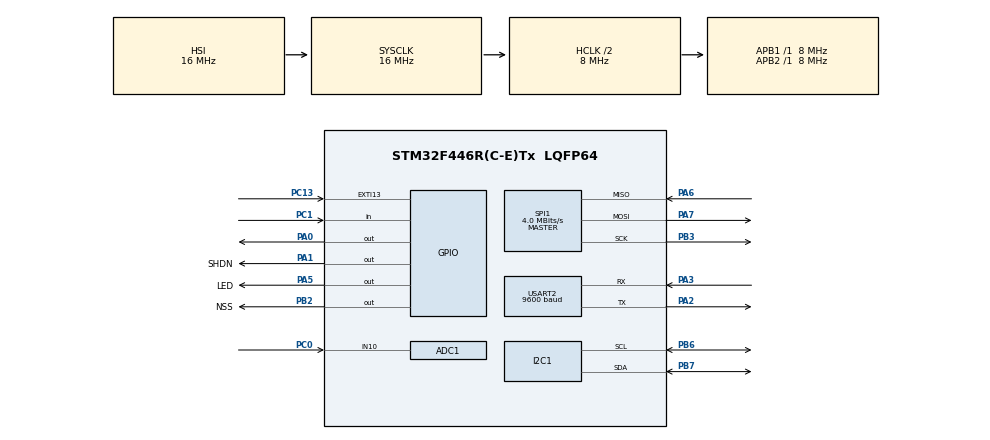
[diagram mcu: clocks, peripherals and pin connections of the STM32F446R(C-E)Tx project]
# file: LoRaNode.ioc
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ADC1.Channel-0\#ChannelRegularConversion=ADC_CHANNEL_10
ADC1.ClockPrescaler=ADC_CLOCK_SYNC_PCLK_DIV2
ADC1.ContinuousConvMode=DISABLE
ADC1.DMAContinuousRequests=DISABLE
ADC1.DataAlign=ADC_DATAALIGN_RIGHT
ADC1.DiscontinuousConvMode=DISABLE
ADC1.EOCSelection=ADC_EOC_SINGLE_CONV
ADC1.EnableAnalogWatchDog=false
ADC1.ExternalTrigConv=ADC_SOFTWARE_START
ADC1.ExternalTrigConvEdge=ADC_EXTERNALTRIGCONVEDGE_NONE
ADC1.InjNumberOfConversion=0
ADC1.NbrOfConversion=1
ADC1.NbrOfConversionFlag=1
ADC1.Rank-0\#ChannelRegularConversion=1
ADC1.Resolution=ADC_RESOLUTION_8B
ADC1.SamplingTime-0\#ChannelRegularConversion=ADC_SAMPLETIME_3CYCLES
ADC1.ScanConvMode=DISABLE
ADC1.master=1
Mcu.Family=STM32F4
Mcu.Name=STM32F446R(C-E)Tx
Mcu.Package=LQFP64
NVIC.EXTI15_10_IRQn=true\:0\:0\:false\:false\:true\:true\:true
NVIC.PriorityGroup=NVIC_PRIORITYGROUP_4
NVIC.RTC_Alarm_IRQn=true\:0\:0\:false\:false\:true\:true\:true
NVIC.TIM2_IRQn=true\:0\:0\:false\:false\:true\:true\:true
PA0-WKUP.Signal=GPIO_Output
PA1.GPIO_Label=SHDN
PA1.Signal=GPIO_Output
PA2.Mode=Asynchronous
PA2.Signal=USART2_TX
PA3.Mode=Asynchronous
PA3.Signal=USART2_RX
PA5.GPIO_Label=LED
PA5.Signal=GPIO_Output
PA6.Mode=Full_Duplex_Master
PA6.Signal=SPI1_MISO
PA7.Mode=Full_Duplex_Master
PA7.Signal=SPI1_MOSI
PB2.GPIO_Label=NSS
PB2.GPIO_Speed=GPIO_SPEED_FREQ_HIGH
PB2.PinState=GPIO_PIN_SET
PB2.Signal=GPIO_Output
PB3.Mode=Full_Duplex_Master
PB3.Signal=SPI1_SCK
PB6.GPIO_PuPdOD=GPIO_PULLUP
PB6.Mode=I2C
PB6.Signal=I2C1_SCL
PB7.GPIO_PuPdOD=GPIO_PULLUP
PB7.Mode=I2C
PB7.Signal=I2C1_SDA
PC0.Signal=ADCx_IN10
PC1.Signal=GPIO_Input
PC13.Signal=GPXTI13
PC14-OSC32_IN.Mode=LSE-External-Oscillator
PC14-OSC32_IN.Signal=RCC_OSC32_IN
PC15-OSC32_OUT.Mode=LSE-External-Oscillator
PC15-OSC32_OUT.Signal=RCC_OSC32_OUT
ProjectManager.HeapSize=0x200
ProjectManager.StackSize=0x400
ProjectManager.TargetToolchain=SW4STM32
RCC.AHBCLKDivider=RCC_SYSCLK_DIV2
RCC.AHBFreq_Value=8000000
RCC.APB1Freq_Value=8000000
RCC.APB1TimFreq_Value=8000000
RCC.APB2Freq_Value=8000000
RCC.APB2TimFreq_Value=8000000
RCC.CortexFreq_Value=8000000
RCC.HCLKFreq_Value=8000000
RCC.SYSCLKFreq_VALUE=16000000
RCC.USBFreq_Value=96000000
RCC.VCOOutputFreq_Value=192000000
RTC.Alarm=RTC_ALARM_A
RTC.AlarmMaskDateWeekDay=RTC_ALARMMASK_DATEWEEKDAY
RTC.AlarmSubSecondMask=RTC_ALARMSUBSECONDMASK_NONE
RTC.Seconds_A=2
RTC.SynchPrediv=304
SH.ADCx_IN10.0=ADC1_IN10,IN10
SPI1.BaudRatePrescaler=SPI_BAUDRATEPRESCALER_2
SPI1.CalculateBaudRate=4.0 MBits/s
SPI1.Direction=SPI_DIRECTION_2LINES
SPI1.Mode=SPI_MODE_MASTER
SPI1.VirtualType=VM_MASTER
TIM2.Period=16
TIM2.Prescaler=95
USART2.BaudRate=9600
USART2.VirtualMode=VM_ASYNC
VP_RTC_VS_RTC_Activate.Mode=RTC_Enabled
VP_RTC_VS_RTC_Alarm_A_Intern.Mode=Alarm A
VP_RTC_VS_RTC_Calendar.Mode=RTC_Calendar
VP_RTC_VS_RTC_WakeUp_intern.Mode=WakeUp
VP_TIM2_VS_ClockSourceINT.Mode=Internal
board=custom

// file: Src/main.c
/* USER CODE BEGIN Header */
/**
  ******************************************************************************
  * @file           : main.c
  * @brief          : Main program body
  ******************************************************************************
  * @attention
  *
  * <h2><center>&copy; Copyright (c) 2019 STMicroelectronics.
  * All rights reserved.</center></h2>
  *
  * This software component is licensed by ST under BSD 3-Clause license,
  * the "License"; You may not use this file except in compliance with the
  * License. You may obtain a copy of the License at:
  *                        opensource.org/licenses/BSD-3-Clause
  *
  ******************************************************************************
  */
/* USER CODE END Header */

#include "main.h"

/* USER CODE BEGIN Includes */
#include "sx1272.h"
#include "sensors.h"

#include <stdio.h>
#include <stdlib.h>
/* USER CODE END Includes */

ADC_HandleTypeDef hadc1;

I2C_HandleTypeDef hi2c1;

RTC_HandleTypeDef hrtc;

SPI_HandleTypeDef hspi1;

TIM_HandleTypeDef htim2;

UART_HandleTypeDef huart2;

/* USER CODE BEGIN PV */
/* Private variables ---------------------------------------------------------*/
#define UUID                    5

#define OFF                     0
#define VIBE_CAP                1
#define VIBE_DONE               2
#define VIBE_FFT                3
#define GET_TEMP                4
#define MAKE_PACKET             5
#define SEND_PACKET             6
#define SLEEP_MODE              7
#define VIBE_SIZE               105
#define NUM_TEMP_SENSORS        3

extern uint8_t data[PAYLOAD_LENGTH];
extern uint8_t sigALERT, tempALERT;
uint8_t timPrescaler = 92, recap = 0;
uint8_t measureMode = OFF;
uint16_t sample = 0;
uint8_t sig = 0;
uint32_t time = 0;
uint8_t tempOutput[3];
/* USER CODE END PV */

void SystemClock_Config(void);
static void MX_GPIO_Init(void);
static void MX_I2C1_Init(void);
static void MX_SPI1_Init(void);
static void MX_ADC1_Init(void);
static void MX_TIM2_Init(void);
static void MX_RTC_Init(void);
static void MX_USART2_UART_Init(void);
/* USER CODE BEGIN PFP */
/* Private function prototypes -----------------------------------------------*/
void HAL_RTC_AlarmAEventCallback(RTC_HandleTypeDef *hrtc1);
void process_measurements(void);
/* USER CODE END PFP */

int main(void)
{

  /* MCU Configuration--------------------------------------------------------*/

  /* Reset of all peripherals, Initializes the Flash interface and the Systick. */
  HAL_Init();

  /* Configure the system clock */
  SystemClock_Config();

  /* Initialize all configured peripherals */
  MX_GPIO_Init();
  MX_I2C1_Init();
  MX_SPI1_Init();
  MX_ADC1_Init();
  MX_TIM2_Init();
  MX_RTC_Init();
  MX_USART2_UART_Init();
  /* USER CODE BEGIN 2 */
  sx1272_lora_init();

  /* USER CODE END 2 */

  /* Infinite loop */
  while (1)
  {

	/* USER CODE BEGIN 3 */
	  if (measureMode == SLEEP_MODE) {
		  HAL_GPIO_TogglePin(LED_GPIO_Port, LED_Pin);

		  HAL_Delay(500);

		  HAL_SuspendTick();
		  HAL_PWR_EnterSTOPMode(PWR_LOWPOWERREGULATOR_ON, PWR_SLEEPENTRY_WFI);

		  HAL_ResumeTick();

		  HAL_Init();
		  SystemClock_Config();
		  MX_GPIO_Init();

		  measureMode = OFF;
	  } else {
		  process_measurements();
	  }

	  HAL_GPIO_WritePin(SHDN_GPIO_Port, SHDN_Pin, GPIO_PIN_SET);
  }
  /* USER CODE END 3 */
}

void SystemClock_Config(void)
{
  RCC_OscInitTypeDef RCC_OscInitStruct = {0};
  RCC_ClkInitTypeDef RCC_ClkInitStruct = {0};
  RCC_PeriphCLKInitTypeDef PeriphClkInitStruct = {0};

  /** Configure the main internal regulator output voltage
  */
  __HAL_RCC_PWR_CLK_ENABLE();
  __HAL_PWR_VOLTAGESCALING_CONFIG(PWR_REGULATOR_VOLTAGE_SCALE3);
  /** Initializes the CPU, AHB and APB busses clocks
  */
  RCC_OscInitStruct.OscillatorType = RCC_OSCILLATORTYPE_HSI|RCC_OSCILLATORTYPE_LSI;
  RCC_OscInitStruct.LSEState = RCC_LSE_ON;
  RCC_OscInitStruct.HSIState = RCC_HSI_ON;
  RCC_OscInitStruct.HSICalibrationValue = RCC_HSICALIBRATION_DEFAULT;
  RCC_OscInitStruct.LSIState = RCC_LSI_ON;
  RCC_OscInitStruct.PLL.PLLState = RCC_PLL_NONE;
  if (HAL_RCC_OscConfig(&RCC_OscInitStruct) != HAL_OK)
  {
    Error_Handler();
  }
  /** Initializes the CPU, AHB and APB busses clocks
  */
  RCC_ClkInitStruct.ClockType = RCC_CLOCKTYPE_HCLK|RCC_CLOCKTYPE_SYSCLK
                              |RCC_CLOCKTYPE_PCLK1|RCC_CLOCKTYPE_PCLK2;
  RCC_ClkInitStruct.SYSCLKSource = RCC_SYSCLKSOURCE_HSI;
  RCC_ClkInitStruct.AHBCLKDivider = RCC_SYSCLK_DIV2;
  RCC_ClkInitStruct.APB1CLKDivider = RCC_HCLK_DIV1;
  RCC_ClkInitStruct.APB2CLKDivider = RCC_HCLK_DIV1;

  if (HAL_RCC_ClockConfig(&RCC_ClkInitStruct, FLASH_LATENCY_0) != HAL_OK)
  {
    Error_Handler();
  }
  PeriphClkInitStruct.PeriphClockSelection = RCC_PERIPHCLK_RTC;
  PeriphClkInitStruct.RTCClockSelection = RCC_RTCCLKSOURCE_LSI;
  if (HAL_RCCEx_PeriphCLKConfig(&PeriphClkInitStruct) != HAL_OK)
  {
    Error_Handler();
  }
}

static void MX_ADC1_Init(void)
{

  ADC_ChannelConfTypeDef sConfig = {0};

  /** Configure the global features of the ADC (Clock, Resolution, Data Alignment and number of conversion)
  */
  hadc1.Instance = ADC1;
  hadc1.Init.ClockPrescaler = ADC_CLOCK_SYNC_PCLK_DIV2;
  hadc1.Init.Resolution = ADC_RESOLUTION_8B;
  hadc1.Init.ScanConvMode = DISABLE;
  hadc1.Init.ContinuousConvMode = DISABLE;
  hadc1.Init.DiscontinuousConvMode = DISABLE;
  hadc1.Init.ExternalTrigConvEdge = ADC_EXTERNALTRIGCONVEDGE_NONE;
  hadc1.Init.ExternalTrigConv = ADC_SOFTWARE_START;
  hadc1.Init.DataAlign = ADC_DATAALIGN_RIGHT;
  hadc1.Init.NbrOfConversion = 1;
  hadc1.Init.DMAContinuousRequests = DISABLE;
  hadc1.Init.EOCSelection = ADC_EOC_SINGLE_CONV;
  if (HAL_ADC_Init(&hadc1) != HAL_OK)
  {
    Error_Handler();
  }
  /** Configure for the selected ADC regular channel its corresponding rank in the sequencer and its sample time.
  */
  sConfig.Channel = ADC_CHANNEL_10;
  sConfig.Rank = 1;
  sConfig.SamplingTime = ADC_SAMPLETIME_3CYCLES;
  if (HAL_ADC_ConfigChannel(&hadc1, &sConfig) != HAL_OK)
  {
    Error_Handler();
  }

}

static void MX_I2C1_Init(void)
{

  hi2c1.Instance = I2C1;
  hi2c1.Init.ClockSpeed = 100000;
  hi2c1.Init.DutyCycle = I2C_DUTYCYCLE_2;
  hi2c1.Init.OwnAddress1 = 0;
  hi2c1.Init.AddressingMode = I2C_ADDRESSINGMODE_7BIT;
  hi2c1.Init.DualAddressMode = I2C_DUALADDRESS_DISABLE;
  hi2c1.Init.OwnAddress2 = 0;
  hi2c1.Init.GeneralCallMode = I2C_GENERALCALL_DISABLE;
  hi2c1.Init.NoStretchMode = I2C_NOSTRETCH_DISABLE;
  if (HAL_I2C_Init(&hi2c1) != HAL_OK)
  {
    Error_Handler();
  }

}

static void MX_RTC_Init(void)
{

  RTC_TimeTypeDef sTime = {0};
  RTC_DateTypeDef sDate = {0};
  RTC_AlarmTypeDef sAlarm = {0};

  /** Initialize RTC Only
  */
  hrtc.Instance = RTC;
  hrtc.Init.HourFormat = RTC_HOURFORMAT_24;
  hrtc.Init.AsynchPrediv = 127;
  hrtc.Init.SynchPrediv = 304;
  hrtc.Init.OutPut = RTC_OUTPUT_DISABLE;
  hrtc.Init.OutPutPolarity = RTC_OUTPUT_POLARITY_HIGH;
  hrtc.Init.OutPutType = RTC_OUTPUT_TYPE_OPENDRAIN;
  if (HAL_RTC_Init(&hrtc) != HAL_OK)
  {
    Error_Handler();
  }

  /** Initialize RTC and set the Time and Date
  */
  sTime.Hours = 0x0;
  sTime.Minutes = 0x0;
  sTime.Seconds = 0x0;
  sTime.DayLightSaving = RTC_DAYLIGHTSAVING_NONE;
  sTime.StoreOperation = RTC_STOREOPERATION_RESET;
  if (HAL_RTC_SetTime(&hrtc, &sTime, RTC_FORMAT_BCD) != HAL_OK)
  {
    Error_Handler();
  }
  sDate.WeekDay = RTC_WEEKDAY_MONDAY;
  sDate.Month = RTC_MONTH_JANUARY;
  sDate.Date = 0x1;
  sDate.Year = 0x0;

  if (HAL_RTC_SetDate(&hrtc, &sDate, RTC_FORMAT_BCD) != HAL_OK)
  {
    Error_Handler();
  }
  /** Enable the Alarm A
  */
  sAlarm.AlarmTime.Hours = 0x0;
  sAlarm.AlarmTime.Minutes = 0x0;
  sAlarm.AlarmTime.Seconds = 0x2;
  sAlarm.AlarmTime.SubSeconds = 0x0;
  sAlarm.AlarmTime.DayLightSaving = RTC_DAYLIGHTSAVING_NONE;
  sAlarm.AlarmTime.StoreOperation = RTC_STOREOPERATION_RESET;
  sAlarm.AlarmMask = RTC_ALARMMASK_DATEWEEKDAY;
  sAlarm.AlarmSubSecondMask = RTC_ALARMSUBSECONDMASK_NONE;
  sAlarm.AlarmDateWeekDaySel = RTC_ALARMDATEWEEKDAYSEL_DATE;
  sAlarm.AlarmDateWeekDay = 0x1;
  sAlarm.Alarm = RTC_ALARM_A;
  if (HAL_RTC_SetAlarm_IT(&hrtc, &sAlarm, RTC_FORMAT_BCD) != HAL_OK)
  {
    Error_Handler();
  }
  /** Enable the WakeUp
  */
  if (HAL_RTCEx_SetWakeUpTimer(&hrtc, 0, RTC_WAKEUPCLOCK_RTCCLK_DIV16) != HAL_OK)
  {
    Error_Handler();
  }

}

static void MX_SPI1_Init(void)
{

  /* SPI1 parameter configuration*/
  hspi1.Instance = SPI1;
  hspi1.Init.Mode = SPI_MODE_MASTER;
  hspi1.Init.Direction = SPI_DIRECTION_2LINES;
  hspi1.Init.DataSize = SPI_DATASIZE_8BIT;
  hspi1.Init.CLKPolarity = SPI_POLARITY_LOW;
  hspi1.Init.CLKPhase = SPI_PHASE_1EDGE;
  hspi1.Init.NSS = SPI_NSS_SOFT;
  hspi1.Init.BaudRatePrescaler = SPI_BAUDRATEPRESCALER_2;
  hspi1.Init.FirstBit = SPI_FIRSTBIT_MSB;
  hspi1.Init.TIMode = SPI_TIMODE_DISABLE;
  hspi1.Init.CRCCalculation = SPI_CRCCALCULATION_DISABLE;
  hspi1.Init.CRCPolynomial = 10;
  if (HAL_SPI_Init(&hspi1) != HAL_OK)
  {
    Error_Handler();
  }

}

static void MX_TIM2_Init(void)
{

  TIM_ClockConfigTypeDef sClockSourceConfig = {0};
  TIM_MasterConfigTypeDef sMasterConfig = {0};

  htim2.Instance = TIM2;
  htim2.Init.Prescaler = timPrescaler;
  htim2.Init.CounterMode = TIM_COUNTERMODE_UP;
  htim2.Init.Period = 16;
  htim2.Init.ClockDivision = TIM_CLOCKDIVISION_DIV1; // Check division here
  htim2.Init.AutoReloadPreload = TIM_AUTORELOAD_PRELOAD_DISABLE;
  if (HAL_TIM_Base_Init(&htim2) != HAL_OK)
  {
    Error_Handler();
  }
  sClockSourceConfig.ClockSource = TIM_CLOCKSOURCE_INTERNAL;
  if (HAL_TIM_ConfigClockSource(&htim2, &sClockSourceConfig) != HAL_OK)
  {
    Error_Handler();
  }
  sMasterConfig.MasterOutputTrigger = TIM_TRGO_RESET;
  sMasterConfig.MasterSlaveMode = TIM_MASTERSLAVEMODE_DISABLE;
  if (HAL_TIMEx_MasterConfigSynchronization(&htim2, &sMasterConfig) != HAL_OK)
  {
    Error_Handler();
  }
  /* USER CODE BEGIN TIM2_Init 2 */
  HAL_NVIC_SetPriority(TIM2_IRQn, 10, 0);
  HAL_NVIC_EnableIRQ(TIM2_IRQn);

  HAL_TIM_Base_Start_IT(&htim2);
  /* USER CODE END TIM2_Init 2 */

}

static void MX_USART2_UART_Init(void)
{

  huart2.Instance = USART2;
  huart2.Init.BaudRate = 9600;
  huart2.Init.WordLength = UART_WORDLENGTH_8B;
  huart2.Init.StopBits = UART_STOPBITS_1;
  huart2.Init.Parity = UART_PARITY_NONE;
  huart2.Init.Mode = UART_MODE_TX_RX;
  huart2.Init.HwFlowCtl = UART_HWCONTROL_NONE;
  huart2.Init.OverSampling = UART_OVERSAMPLING_16;
  if (HAL_UART_Init(&huart2) != HAL_OK)
  {
    Error_Handler();
  }

}

static void MX_GPIO_Init(void)
{
  GPIO_InitTypeDef GPIO_InitStruct = {0};

  /* GPIO Ports Clock Enable */
  __HAL_RCC_GPIOC_CLK_ENABLE();
  __HAL_RCC_GPIOA_CLK_ENABLE();
  __HAL_RCC_GPIOB_CLK_ENABLE();

  /*Configure GPIO pin Output Level */
  HAL_GPIO_WritePin(GPIOA, GPIO_PIN_0|SHDN_Pin|LED_Pin, GPIO_PIN_RESET);

  /*Configure GPIO pin Output Level */
  HAL_GPIO_WritePin(NSS_GPIO_Port, NSS_Pin, GPIO_PIN_SET);

  /*Configure GPIO pin : PC13 */
  GPIO_InitStruct.Pin = GPIO_PIN_13;
  GPIO_InitStruct.Mode = GPIO_MODE_IT_RISING;
  GPIO_InitStruct.Pull = GPIO_NOPULL;
  HAL_GPIO_Init(GPIOC, &GPIO_InitStruct);

  /*Configure GPIO pin : PC1 */
  GPIO_InitStruct.Pin = GPIO_PIN_1;
  GPIO_InitStruct.Mode = GPIO_MODE_INPUT;
  GPIO_InitStruct.Pull = GPIO_NOPULL;
  HAL_GPIO_Init(GPIOC, &GPIO_InitStruct);

  /*Configure GPIO pins : PA0 SHDN_Pin LED_Pin */
  GPIO_InitStruct.Pin = GPIO_PIN_0|SHDN_Pin|LED_Pin;
  GPIO_InitStruct.Mode = GPIO_MODE_OUTPUT_PP;
  GPIO_InitStruct.Pull = GPIO_NOPULL;
  GPIO_InitStruct.Speed = GPIO_SPEED_FREQ_LOW;
  HAL_GPIO_Init(GPIOA, &GPIO_InitStruct);

  /*Configure GPIO pin : NSS_Pin */
  GPIO_InitStruct.Pin = NSS_Pin;
  GPIO_InitStruct.Mode = GPIO_MODE_OUTPUT_PP;
  GPIO_InitStruct.Pull = GPIO_NOPULL;
  GPIO_InitStruct.Speed = GPIO_SPEED_FREQ_HIGH;
  HAL_GPIO_Init(NSS_GPIO_Port, &GPIO_InitStruct);

  /* EXTI interrupt init*/
  HAL_NVIC_SetPriority(EXTI15_10_IRQn, 0, 0);
  HAL_NVIC_EnableIRQ(EXTI15_10_IRQn);

}

/* USER CODE BEGIN 4 */
void HAL_GPIO_EXTI_Callback(uint16_t GPIO_Pin) {
    if (GPIO_Pin == GPIO_PIN_13) {
        HAL_GPIO_TogglePin(GPIOA, LED_Pin);
    } else {
        ;
    }
}

void HAL_RTC_AlarmAEventCallback(RTC_HandleTypeDef *hrtc1) {
    HAL_RTC_DeactivateAlarm(hrtc1, RTC_ALARM_A);
    MX_RTC_Init();
}

/**
* @brief Period elapsed callback in non blocking mode
* @param htim: Pointer to a TIM_HandleTypeDef that contains the configuration information for the TIM module.
* @retval None
*/
void HAL_TIM_PeriodElapsedCallback(TIM_HandleTypeDef *htim)
{
    if (htim->Instance == TIM2)
    {
        /* End ADC sampling */
        if ((sample >= SAMPLES) && (sig >= SIGNALS)) {
            measureMode = VIBE_DONE;
            sample = 0;
            sig = 0;
            return;
        }

        if ((sample >= SAMPLES) && (sig < SIGNALS)) {
        	sample = 0;
        	sig++;
        }

        if (measureMode != VIBE_DONE) {
            /* Capture ADC samples */
            ADC_fill_buffer(sample, sig);
            sample++;
        }
    }
}

/**
  * @brief  Processes steps to capture all measurements
  * @param  None
  * @retval None
  */
void process_measurements(void) {

    /* Initializes timer for vibration sensor */
    if (measureMode == OFF) {
    	make_sig_array();
        MX_TIM2_Init();
        measureMode = VIBE_CAP;
        return;
    }
    /* Capturing vibrations */
    if (measureMode == VIBE_CAP) {
        return;
    }
    /* Deinitializes timer for vibration sensor */
    if (measureMode == VIBE_DONE) {
        HAL_TIM_Base_DeInit(&htim2);
        signal_averaging();
        measureMode = VIBE_FFT;

        return;
    }
    /* Filter and FFT of captured data */
    if (measureMode == VIBE_FFT) {
        vibe_filter();
        vibe_fft();
        measureMode = GET_TEMP;
        return;
    }

    /* Capture temperature data */
    if (measureMode == GET_TEMP) {
        log_temp();
        measureMode = MAKE_PACKET;

        return;
    }

    /* Set up payload to send */
    if (measureMode == MAKE_PACKET) {
        set_payload();
        measureMode = SEND_PACKET;
        return;
    }

    /* Send pay load */
    if (measureMode == SEND_PACKET) {
        sx1272_send(UUID, data, PAYLOAD_LENGTH + HEADER_LENGTH, 1, 100);

        if ((!sigALERT && !tempALERT) || (recap >= 5)) {
        	timPrescaler = 92;
        	recap = 0;
        	measureMode = SLEEP_MODE;
        } else {
        	sigALERT = 0;
        	tempALERT = 0;
        	timPrescaler = 46;
        	recap++;
        	measureMode = OFF;
        	return;
        }
    }

    return;
}

#ifdef __GNUC__
  /* With GCC/RAISONANCE, small printf (option LD Linker->Libraries->Small printf
     set to 'Yes') calls __io_putchar() */
  #define PUTCHAR_PROTOTYPE int __io_putchar(int ch)
#else
  #define PUTCHAR_PROTOTYPE int fputc(int ch, FILE *f)
#endif /* __GNUC__ */
/**
  * @brief  Retargets the C library printf function to the USART.
  * @param  None
  * @retval None
  */
PUTCHAR_PROTOTYPE
{
  /* Place your implementation of fputc here */
  /* e.g. write a character to the EVAL_COM1 and Loop until the end of transmission */
  HAL_UART_Transmit(&huart2, (uint8_t *)&ch, 1, 0xFFFF);

  return ch;
}

/* USER CODE END 4 */

void Error_Handler(void)
{
  while(1)
  {
  }
}

/************************ (C) COPYRIGHT STMicroelectronics *****END OF FILE****/
